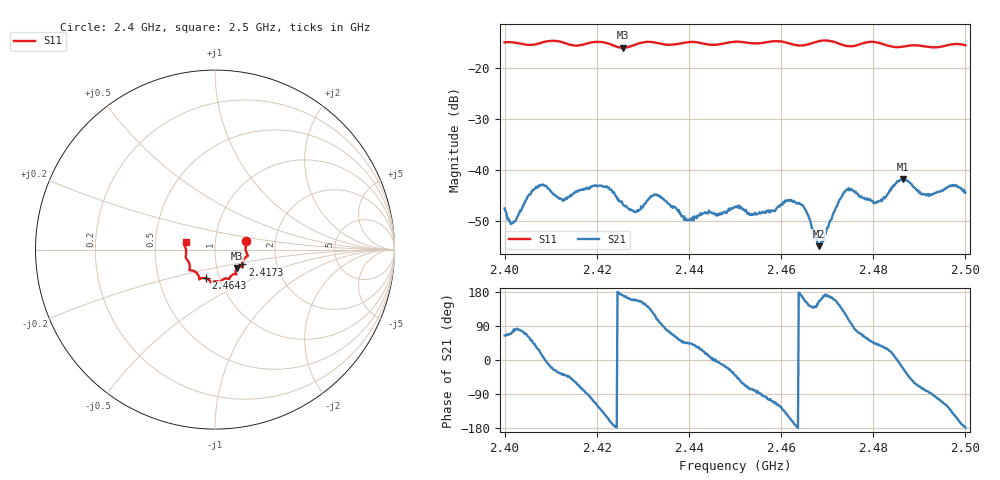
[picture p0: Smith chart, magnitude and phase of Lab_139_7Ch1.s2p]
# Hz S RI R 50
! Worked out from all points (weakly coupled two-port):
!   601 points, 2.4 GHz to 2.5 GHz, reference 50 ohm
!   highest |S21| = -41.72 dB at 2.4865 GHz (marker M1); lowest = -54.9 dB at 2.4682 GHz (marker M2)
!   lowest |S11| = -15.9 dB at 2.4257 GHz (marker M3), VSWR 1.38, Z = 62.4 - j13.1 ohm
!   |S11| at or under -10 dB: start of sweep to end of sweep
!   S12 and S22 are empty: the file has one direction only
!   S11 on the Smith chart (normalised r, x): 2.4 GHz: 1.41, +0.14; 2.4173 GHz: 1.34, -0.23; 2.4643 GHz: 0.86, -0.28; 2.5 GHz: 0.72, +0.06
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2.4e9  0.1737 0.0493  0.00182 0.00382  0 0  0 0
2.401833e9  0.1753 0.0421  0.000864 0.00293  0 0  0 0
2.407833e9  0.177 -0.0196  0.00685 0.00219  0 0  0 0
2.412667e9  0.176 -0.0393  0.00399 -0.00303  0 0  0 0
2.416667e9  0.1526 -0.075  0.00164 -0.00623  0 0  0 0
2.417333e9  0.1519 -0.0824  0.000942 -0.00643  0 0  0 0
2.422167e9  0.1505 -0.0942  -0.00605 -0.00345  0 0  0 0
2.425667e9  0.1223 -0.1023  -0.00457 0.000772  0 0  0 0
2.428667e9  0.1155 -0.1293  -0.00363 0.0015  0 0  0 0
2.433333e9  0.1125 -0.1365  -0.00145 0.0055  0 0  0 0
2.439833e9  0.0801 -0.1628  0.00231 0.00232  0 0  0 0
2.45e9  0.0295 -0.1809  0.00337 -0.00286  0 0  0 0
2.453667e9  0.0129 -0.1763  0.000874 -0.00363  0 0  0 0
2.464333e9  -0.0501 -0.1602  -0.00455 0.000766  0 0  0 0
2.466667e9  -0.0761 -0.1596  -0.00211 0.00173  0 0  0 0
2.468167e9  -0.0854 -0.1645  -0.00163 0.000783  0 0  0 0
2.474167e9  -0.0987 -0.134  -0.00289 0.00573  0 0  0 0
2.4805e9  -0.1426 -0.112  0.00348 0.00336  0 0  0 0
2.483333e9  -0.1404 -0.0897  0.00541 0.00265  0 0  0 0
2.4865e9  -0.153 -0.0595  0.00755 -0.00322  0 0  0 0
2.491e9  -0.1617 -0.0347  0.00133 -0.00568  0 0  0 0
2.5e9  -0.1637 0.0418  -0.00606 -0.000138  0 0  0 0
